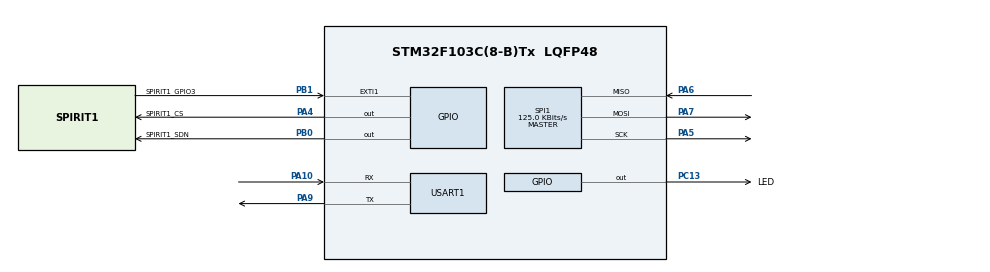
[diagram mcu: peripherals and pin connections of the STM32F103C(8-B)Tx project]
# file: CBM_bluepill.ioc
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Mcu.Family=STM32F1
Mcu.Name=STM32F103C(8-B)Tx
Mcu.Package=LQFP48
NVIC.EXTI1_IRQn=true\:0\:0\:false\:false\:true\:true\:true\:true
NVIC.PriorityGroup=NVIC_PRIORITYGROUP_4
NVIC.TIM2_IRQn=true\:0\:0\:false\:false\:true\:true\:true\:true
PA10.Mode=Asynchronous
PA10.Signal=USART1_RX
PA4.GPIO_Label=SPIRIT1_CS
PA4.PinState=GPIO_PIN_SET
PA4.Signal=GPIO_Output
PA5.Mode=Full_Duplex_Master
PA5.Signal=SPI1_SCK
PA6.Mode=Full_Duplex_Master
PA6.Signal=SPI1_MISO
PA7.Mode=Full_Duplex_Master
PA7.Signal=SPI1_MOSI
PA9.Mode=Asynchronous
PA9.Signal=USART1_TX
PB0.GPIO_Label=SPIRIT1_SDN
PB0.Signal=GPIO_Output
PB1.GPIO_Label=SPIRIT1_GPIO3
PB1.GPIO_ModeDefaultEXTI=GPIO_MODE_IT_FALLING
PB1.Signal=GPXTI1
PC13-TAMPER-RTC.GPIO_Label=LED
PC13-TAMPER-RTC.Signal=GPIO_Output
PD0-OSC_IN.Mode=HSE-External-Oscillator
PD0-OSC_IN.Signal=RCC_OSC_IN
PD1-OSC_OUT.Mode=HSE-External-Oscillator
PD1-OSC_OUT.Signal=RCC_OSC_OUT
ProjectManager.HeapSize=0x200
ProjectManager.StackSize=0x400
ProjectManager.TargetToolchain=STM32CubeIDE
RCC.APB1Freq_Value=8000000
RCC.APB2Freq_Value=8000000
RCC.PLLSourceVirtual=RCC_PLLSOURCE_HSI_DIV2
SPI1.BaudRatePrescaler=SPI_BAUDRATEPRESCALER_64
SPI1.CalculateBaudRate=125.0 KBits/s
SPI1.Direction=SPI_DIRECTION_2LINES
SPI1.Mode=SPI_MODE_MASTER
SPI1.VirtualType=VM_MASTER
TIM2.Period=40000
USART1.VirtualMode=VM_ASYNC
VP_SYS_VS_ND.Mode=No_Debug
VP_TIM2_VS_ClockSourceINT.Mode=Internal
board=custom

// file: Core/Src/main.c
/* USER CODE BEGIN Header */
/**
  ******************************************************************************
  * @file           : main.c
  * @brief          : Main program body
  ******************************************************************************
  * @attention
  *
  * Copyright (c) 2022 STMicroelectronics.
  * All rights reserved.
  *
  * This software is licensed under terms that can be found in the LICENSE file
  * in the root directory of this software component.
  * If no LICENSE file comes with this software, it is provided AS-IS.
  *
  ******************************************************************************
  */
/* USER CODE END Header */
#include "main.h"

SPI_HandleTypeDef hspi1;

TIM_HandleTypeDef htim2;

UART_HandleTypeDef huart1;

/* USER CODE BEGIN PV */
const char *module = "main";
#define main_print_debug(str) print_debug(module, str);

enum states state = PREP_DATA;
uint8_t interrupt_flag = 0;

struct config c;
struct nodes_info nodes;
SpiritIrqs irqStatus;

uint8_t last_message[50];
/* USER CODE END PV */

void SystemClock_Config(void);
static void MX_GPIO_Init(void);
static void MX_SPI1_Init(void);
static void MX_USART1_UART_Init(void);
static void MX_TIM2_Init(void);

int main(void)
{

  /* MCU Configuration--------------------------------------------------------*/

  /* Reset of all peripherals, Initializes the Flash interface and the Systick. */
  HAL_Init();

  /* Configure the system clock */
  SystemClock_Config();

  /* Initialize all configured peripherals */
  MX_GPIO_Init();
  MX_SPI1_Init();
  MX_USART1_UART_Init();
  MX_TIM2_Init();
  /* USER CODE BEGIN 2 */
  c = config();

  main_print_debug("****************PROGRAM STARTED******************");
  main_print_debug("Peripherals initialized!");
  comm_start();

  main_print_debug("SPSGRF initialized!");

  uint8_t data[200];
  uint8_t enc_data[16];
  uint8_t dec_data[12];
  uint8_t len;

  struct sensor_values sensor_value;
  sensor_value.temperature = 21.32;
  sensor_value.acc.x.rms = 21.32;
  sensor_value.acc.x.peak = 11.23;
  sensor_value.acc.x.crest = 8.1;
  sensor_value.acc.y.rms = 21.324;
  sensor_value.acc.y.peak = 11.234;
  sensor_value.acc.y.crest = 8.13;
  sensor_value.acc.z.rms = 21.327;
  sensor_value.acc.z.peak = 11.231;
  sensor_value.acc.z.crest = 8.12;

  sensor_value.velo.x.rms = 21.32;
  sensor_value.velo.x.peak = 11.23;
  sensor_value.velo.x.crest = 8.1;
  sensor_value.velo.y.rms = 21.324;
  sensor_value.velo.y.peak = 11.234;
  sensor_value.velo.y.crest = 8.13;
  sensor_value.velo.z.rms = 21.327;
  sensor_value.velo.z.peak = 11.231;
  sensor_value.velo.z.crest = 8.12;

  sensor_value.disp.x.rms = 21.32;
  sensor_value.disp.x.peak = 11.23;
  sensor_value.disp.x.crest = 0;
  sensor_value.disp.y.rms = 21.324;
  sensor_value.disp.y.peak = 11.234;
  sensor_value.disp.y.crest = 0;
  sensor_value.disp.z.rms = 21.327;
  sensor_value.disp.z.peak = 11.231;
  sensor_value.disp.z.crest = 0;
  /* USER CODE END 2 */

  /* Infinite loop */
  /* USER CODE BEGIN WHILE */
  main_print_debug("Main loop begin");
  while (1)
  {
	  switch(state){
	  case PREP_DATA:
		  main_print_debug("Data send request");
		  len = comm_request(data,sensor_value);
		  state = ENCRYPT;
		  break;
	  case ENCRYPT:
		  comm_encrypt(data, len, enc_data);
		  state = DECRYPT;
		  break;
	  case SEND:
		  comm_send(enc_data);
		  state = IDLE;
		  break;
	  case RECEIVE:
		  main_print_debug("Starting RX state");
		  SPSGRF_StartRx();
		  state = IDLE;
		  break;
	  case DECRYPT:
		  comm_decrypt(dec_data);
		  comm_received(dec_data);
		  state = RECEIVE;
		  break;

	  case IDLE:
		  if(interrupt_flag == 1){
			main_print_debug("Got interrupted");
			interrupt_flag = 0;
			if(irqStatus.IRQ_RX_DATA_READY)
			{
				main_print_debug("data received");
				state = DECRYPT;
			}
			if(irqStatus.IRQ_RX_DATA_DISC)
			{
				state = RECEIVE;
			}
			if(irqStatus.IRQ_TX_DATA_SENT)
			{
				main_print_debug("Data send!");
				state = RECEIVE;
			}
			if(irqStatus.IRQ_AES_END)
			{
				main_print_debug("Encryption done");
				state = IDLE;
			}
		  }
		  break;
	  }

    /* USER CODE END WHILE */

  }
}

void SystemClock_Config(void)
{
  RCC_OscInitTypeDef RCC_OscInitStruct = {0};
  RCC_ClkInitTypeDef RCC_ClkInitStruct = {0};

  /** Initializes the RCC Oscillators according to the specified parameters
  * in the RCC_OscInitTypeDef structure.
  */
  RCC_OscInitStruct.OscillatorType = RCC_OSCILLATORTYPE_HSI;
  RCC_OscInitStruct.HSIState = RCC_HSI_ON;
  RCC_OscInitStruct.HSICalibrationValue = RCC_HSICALIBRATION_DEFAULT;
  RCC_OscInitStruct.PLL.PLLState = RCC_PLL_NONE;
  if (HAL_RCC_OscConfig(&RCC_OscInitStruct) != HAL_OK)
  {
    Error_Handler();
  }

  /** Initializes the CPU, AHB and APB buses clocks
  */
  RCC_ClkInitStruct.ClockType = RCC_CLOCKTYPE_HCLK|RCC_CLOCKTYPE_SYSCLK
                              |RCC_CLOCKTYPE_PCLK1|RCC_CLOCKTYPE_PCLK2;
  RCC_ClkInitStruct.SYSCLKSource = RCC_SYSCLKSOURCE_HSI;
  RCC_ClkInitStruct.AHBCLKDivider = RCC_SYSCLK_DIV1;
  RCC_ClkInitStruct.APB1CLKDivider = RCC_HCLK_DIV1;
  RCC_ClkInitStruct.APB2CLKDivider = RCC_HCLK_DIV1;

  if (HAL_RCC_ClockConfig(&RCC_ClkInitStruct, FLASH_LATENCY_0) != HAL_OK)
  {
    Error_Handler();
  }
}

static void MX_SPI1_Init(void)
{

  /* SPI1 parameter configuration*/
  hspi1.Instance = SPI1;
  hspi1.Init.Mode = SPI_MODE_MASTER;
  hspi1.Init.Direction = SPI_DIRECTION_2LINES;
  hspi1.Init.DataSize = SPI_DATASIZE_8BIT;
  hspi1.Init.CLKPolarity = SPI_POLARITY_LOW;
  hspi1.Init.CLKPhase = SPI_PHASE_1EDGE;
  hspi1.Init.NSS = SPI_NSS_SOFT;
  hspi1.Init.BaudRatePrescaler = SPI_BAUDRATEPRESCALER_64;
  hspi1.Init.FirstBit = SPI_FIRSTBIT_MSB;
  hspi1.Init.TIMode = SPI_TIMODE_DISABLE;
  hspi1.Init.CRCCalculation = SPI_CRCCALCULATION_DISABLE;
  hspi1.Init.CRCPolynomial = 10;
  if (HAL_SPI_Init(&hspi1) != HAL_OK)
  {
    Error_Handler();
  }

}

static void MX_TIM2_Init(void)
{

  TIM_ClockConfigTypeDef sClockSourceConfig = {0};
  TIM_MasterConfigTypeDef sMasterConfig = {0};

  htim2.Instance = TIM2;
  htim2.Init.Prescaler = 24000;
  htim2.Init.CounterMode = TIM_COUNTERMODE_UP;
  htim2.Init.Period = 20000;
  htim2.Init.ClockDivision = TIM_CLOCKDIVISION_DIV1;
  htim2.Init.AutoReloadPreload = TIM_AUTORELOAD_PRELOAD_DISABLE;
  if (HAL_TIM_Base_Init(&htim2) != HAL_OK)
  {
    Error_Handler();
  }
  sClockSourceConfig.ClockSource = TIM_CLOCKSOURCE_INTERNAL;
  if (HAL_TIM_ConfigClockSource(&htim2, &sClockSourceConfig) != HAL_OK)
  {
    Error_Handler();
  }
  sMasterConfig.MasterOutputTrigger = TIM_TRGO_RESET;
  sMasterConfig.MasterSlaveMode = TIM_MASTERSLAVEMODE_DISABLE;
  if (HAL_TIMEx_MasterConfigSynchronization(&htim2, &sMasterConfig) != HAL_OK)
  {
    Error_Handler();
  }

}

static void MX_USART1_UART_Init(void)
{

  huart1.Instance = USART1;
  huart1.Init.BaudRate = 115200;
  huart1.Init.WordLength = UART_WORDLENGTH_8B;
  huart1.Init.StopBits = UART_STOPBITS_1;
  huart1.Init.Parity = UART_PARITY_NONE;
  huart1.Init.Mode = UART_MODE_TX_RX;
  huart1.Init.HwFlowCtl = UART_HWCONTROL_NONE;
  huart1.Init.OverSampling = UART_OVERSAMPLING_16;
  if (HAL_UART_Init(&huart1) != HAL_OK)
  {
    Error_Handler();
  }

}

static void MX_GPIO_Init(void)
{
  GPIO_InitTypeDef GPIO_InitStruct = {0};

  /* GPIO Ports Clock Enable */
  __HAL_RCC_GPIOC_CLK_ENABLE();
  __HAL_RCC_GPIOD_CLK_ENABLE();
  __HAL_RCC_GPIOA_CLK_ENABLE();
  __HAL_RCC_GPIOB_CLK_ENABLE();

  /*Configure GPIO pin Output Level */
  HAL_GPIO_WritePin(LED_GPIO_Port, LED_Pin, GPIO_PIN_RESET);

  /*Configure GPIO pin Output Level */
  HAL_GPIO_WritePin(SPIRIT1_CS_GPIO_Port, SPIRIT1_CS_Pin, GPIO_PIN_SET);

  /*Configure GPIO pin Output Level */
  HAL_GPIO_WritePin(SPIRIT1_SDN_GPIO_Port, SPIRIT1_SDN_Pin, GPIO_PIN_RESET);

  /*Configure GPIO pin : LED_Pin */
  GPIO_InitStruct.Pin = LED_Pin;
  GPIO_InitStruct.Mode = GPIO_MODE_OUTPUT_PP;
  GPIO_InitStruct.Pull = GPIO_NOPULL;
  GPIO_InitStruct.Speed = GPIO_SPEED_FREQ_LOW;
  HAL_GPIO_Init(LED_GPIO_Port, &GPIO_InitStruct);

  /*Configure GPIO pin : SPIRIT1_CS_Pin */
  GPIO_InitStruct.Pin = SPIRIT1_CS_Pin;
  GPIO_InitStruct.Mode = GPIO_MODE_OUTPUT_PP;
  GPIO_InitStruct.Pull = GPIO_NOPULL;
  GPIO_InitStruct.Speed = GPIO_SPEED_FREQ_LOW;
  HAL_GPIO_Init(SPIRIT1_CS_GPIO_Port, &GPIO_InitStruct);

  /*Configure GPIO pin : SPIRIT1_SDN_Pin */
  GPIO_InitStruct.Pin = SPIRIT1_SDN_Pin;
  GPIO_InitStruct.Mode = GPIO_MODE_OUTPUT_PP;
  GPIO_InitStruct.Pull = GPIO_NOPULL;
  GPIO_InitStruct.Speed = GPIO_SPEED_FREQ_LOW;
  HAL_GPIO_Init(SPIRIT1_SDN_GPIO_Port, &GPIO_InitStruct);

  /*Configure GPIO pin : SPIRIT1_GPIO3_Pin */
  GPIO_InitStruct.Pin = SPIRIT1_GPIO3_Pin;
  GPIO_InitStruct.Mode = GPIO_MODE_IT_FALLING;
  GPIO_InitStruct.Pull = GPIO_NOPULL;
  HAL_GPIO_Init(SPIRIT1_GPIO3_GPIO_Port, &GPIO_InitStruct);

  /* EXTI interrupt init*/
  HAL_NVIC_SetPriority(EXTI1_IRQn, 0, 0);
  HAL_NVIC_EnableIRQ(EXTI1_IRQn);

}

void Error_Handler(void)
{
  __disable_irq();
  while (1)
  {
  }
}
